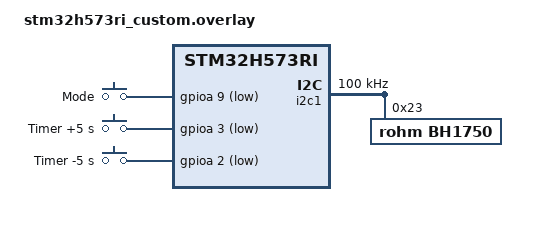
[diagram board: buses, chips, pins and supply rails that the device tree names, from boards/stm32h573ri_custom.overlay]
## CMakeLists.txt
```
cmake_minimum_required(VERSION 3.20.0)

# Board definition in boards/st/ (scripts/build.sh also passes it for sysbuild)
list(APPEND BOARD_ROOT ${CMAKE_CURRENT_SOURCE_DIR})

find_package(Zephyr REQUIRED HINTS $ENV{ZEPHYR_BASE})
project(SmartLighting)

# Firmware identity: FW_VERSION comes from the VERSION file (MCUboot signs the
# image with the same version); FW_DEVICE_NAME is the default device name and
# MQTT client ID (at most 15 characters)
if(NOT APP_VERSION_STRING)
  message(FATAL_ERROR "${CMAKE_CURRENT_SOURCE_DIR}/VERSION is missing")
endif()
target_compile_definitions(app PRIVATE
  FW_NAME="SmartLighting"
  FW_VERSION="${APP_VERSION_STRING}"
  FW_DEVICE_NAME="SmartLight"
)

# Drivers in src/drivers/<name>: their .c files are built, their folder is on
# the include path
set(DRIVERS
  boot          # MCUboot image confirm, NRST swap gesture
  config        # configuration in flash (A/B + CRC), IP / MAC
  network       # W5500 Ethernet, DHCP / static IP
  mqtt          # MQTT client (TLS), status + per-device topics
  web           # web server: login, configuration page, /api
  gpio          # relays, buttons
  i2c           # bus of the LCD
  lcd           # 20x4 LCD (PCF8574)
  bh1750        # light sensor
)
foreach(drv ${DRIVERS})
  file(GLOB srcs ${CMAKE_CURRENT_SOURCE_DIR}/src/drivers/${drv}/*.c)
  target_sources(app PRIVATE ${srcs})
  target_include_directories(app PRIVATE src/drivers/${drv})
endforeach()

# Mbed TLS user config (src/drivers/mqtt/mbedtls_user_config.h) must be seen
# by the Zephyr libraries too
zephyr_include_directories(src/drivers/mqtt)

# Application: main.c and the logic files next to it (overview in src/app.h)
target_include_directories(app PRIVATE src)
target_sources(app PRIVATE
  src/main.c          # start-up, main loop, buttons
  src/lamp.c          # dark / bright, AUTO / MANUAL, own light, off timer
  src/settings.c      # settings in flash
  src/lcd_view.c      # LCD thread and screens
  src/status_json.c   # JSON for MQTT and the web page
  src/web_app.c       # web page hooks, /api routes
  src/clock.c         # local time over SNTP (quiet hours)
)
```

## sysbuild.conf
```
SB_CONFIG_BOOTLOADER_MCUBOOT=y
SB_CONFIG_MCUBOOT_MODE_SWAP_SCRATCH=y
SB_CONFIG_BOOT_SIGNATURE_TYPE_RSA=y
```

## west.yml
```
# west manifest for the SmartLighting showcase.
#
#   west init -l --mf showcase/SmartLighting/west.yml fptUniversity
#   (run from the directory that holds the fptUniversity clone)
#   west update
#
# Only the modules this firmware needs are fetched. (scripts/setup.sh does
# all of this.)
manifest:
  version: "1.2"

  remotes:
    - name: zephyrproject-rtos
      url-base: https://github.com/zephyrproject-rtos

  projects:
    - name: zephyr
      remote: zephyrproject-rtos
      revision: v4.4.2
      import:
        name-allowlist:
          - cmsis
          - cmsis_6
          - hal_stm32
          - mbedtls
          - mcuboot
          - picolibc
          - segger
          - tf-psa-crypto
          - zcbor

  self:
    path: fptUniversity
```

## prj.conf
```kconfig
# SmartLighting 1.0.0 — dusk-to-dawn lamp with a BH1750 light sensor.

# BH1750 on I2C1 (shared with the LCD)
CONFIG_SENSOR=y
CONFIG_BH1750=y

# ── Console, MCUboot, config flash, LCD (I2C), Ethernet, web, MQTT ──
CONFIG_BOOT_BANNER=y
CONFIG_PRINTK=y
CONFIG_LOG=y
CONFIG_LOG_DEFAULT_LEVEL=3
CONFIG_STDOUT_CONSOLE=y

# Console over SEGGER RTT (read through the SWD probe, no UART adapter):
# printk and the log both go to RTT channel 0. UART5 stays free.
CONFIG_USE_SEGGER_RTT=y
CONFIG_RTT_CONSOLE=y
CONFIG_UART_CONSOLE=n
CONFIG_LOG_BACKEND_UART=n
CONFIG_LOG_BACKEND_RTT=y
# Keep SWD reachable while the idle thread sits in WFI
CONFIG_STM32_ENABLE_DEBUG_SLEEP_STOP=y
CONFIG_GPIO=y
CONFIG_BOOTLOADER_MCUBOOT=y
CONFIG_FLASH=y
CONFIG_FLASH_MAP=y
CONFIG_FLASH_PAGE_LAYOUT=y
CONFIG_IMG_MANAGER=y
CONFIG_MCUBOOT_IMG_MANAGER=y
CONFIG_STREAM_FLASH=y
CONFIG_IMG_ERASE_PROGRESSIVELY=y
CONFIG_REBOOT=y

# 20x4 LCD (PCF8574 on I2C1)
CONFIG_I2C=y

# W5500 Ethernet
CONFIG_SPI=y
CONFIG_ETH_W5500=y
CONFIG_NET_L2_ETHERNET=y
CONFIG_NETWORKING=y
CONFIG_NET_IPV4=y
CONFIG_NET_TCP=y
CONFIG_NET_SOCKETS=y
CONFIG_NET_DHCPV4=y
# IP is assigned at runtime by network.c (DHCP or static per web config).
# net_config auto-init + compile-time static are disabled so they don't
# force 192.168.1.100 before the DHCP client can request a lease.
CONFIG_NET_MGMT=y
CONFIG_NET_MGMT_EVENT=y
CONFIG_POSIX_API=y

# Thread / memory. Thread priorities: table in src/config.h. main (the
# control loop) is preemptible at 5, below the network stack (W5500 RX and
# TCP at 2) so a long computation never holds the network up.
CONFIG_MAIN_THREAD_PRIORITY=5
CONFIG_THREAD_NAME=y
CONFIG_MAIN_STACK_SIZE=4096
CONFIG_NET_TX_STACK_SIZE=2048
CONFIG_NET_RX_STACK_SIZE=2048
CONFIG_SYSTEM_WORKQUEUE_STACK_SIZE=2048
CONFIG_ZVFS_POLL_MAX=6
CONFIG_NET_MAX_CONN=8
CONFIG_NET_MAX_CONTEXTS=12

CONFIG_HEAP_MEM_POOL_SIZE=16384

# ── MQTT client + DNS ──
CONFIG_MQTT_LIB=y
CONFIG_DNS_RESOLVER=y
CONFIG_DNS_SERVER_IP_ADDRESSES=y
CONFIG_DNS_SERVER1="8.8.8.8"

# ── SNTP: local time for the quiet hours (src/clock.c) ──
CONFIG_SNTP=y

# ── TLS for MQTT (port 8883, broker certificate verified against ISRG Root X1) ──
CONFIG_MQTT_LIB_TLS=y
CONFIG_NET_SOCKETS_SOCKOPT_TLS=y
CONFIG_NET_SOCKETS_TLS_MAX_CONTEXTS=2
CONFIG_NET_SOCKETS_TLS_CONNECT_TIMEOUT=10000
CONFIG_TLS_CREDENTIALS=y
CONFIG_MBEDTLS=y
CONFIG_MBEDTLS_ENABLE_HEAP=y
CONFIG_MBEDTLS_HEAP_SIZE=65536
# 16 KB input records; the output buffer is reduced to 2 KB in
# src/drivers/mqtt/mbedtls_user_config.h
CONFIG_MBEDTLS_SSL_MAX_CONTENT_LEN=16384
CONFIG_MBEDTLS_USER_CONFIG_FILE="mbedtls_user_config.h"
CONFIG_MBEDTLS_SSL_SERVER_NAME_INDICATION=y
CONFIG_MBEDTLS_SSL_PROTO_TLS1_3=y
CONFIG_MBEDTLS_SSL_TLS1_3_KEY_EXCHANGE_MODE_EPHEMERAL_ENABLED=y
CONFIG_MBEDTLS_CIPHERSUITE_TLS1_3_AES_128_GCM_SHA256=y
CONFIG_MBEDTLS_CIPHERSUITE_TLS_ECDHE_ECDSA_WITH_AES_128_GCM_SHA256=y
CONFIG_MBEDTLS_CIPHERSUITE_TLS_ECDHE_RSA_WITH_AES_128_GCM_SHA256=y
CONFIG_MBEDTLS_X509_CRT_PARSE_C=y
CONFIG_MBEDTLS_PEM_PARSE_C=y
CONFIG_PSA_WANT_ALG_SHA_384=y
```

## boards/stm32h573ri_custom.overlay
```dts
/*
 * SmartLighting: BH1750 light sensor, 20x4 LCD, lamp on Relay 1 and 4 buttons
 * on the Base Board.
 *
 *   U16-10 PB6   I2C1 SCL -> BH1750 (0x23) and PCF8574 backpack of the LCD
 *   U16-9  PB9   I2C1 SDA -> BH1750 (0x23) and PCF8574 backpack of the LCD
 *   U16-12 PA10  BTN1 lamp ON/OFF  (user_btn of the board)
 *   U16-11 PA9   BTN2 AUTO/MANUAL  (SPI2 SCK on the board)
 *   U16-3  PA3   BTN3 timer +5 s   (USART2 RX on the board)
 *   U16-4  PA2   BTN4 timer -5 s   (USART2 TX on the board)
 *   CN3-1/2      Relay 1 (PB5) switches the lamp, high = on
 *
 * Buttons close to GND (U16-17/18); the internal pull-ups are used.
 * The board devicetree is left untouched; everything showcase specific is here.
 */

/ {
	chosen {
		/delete-property/ zephyr,canbus;
	};

	showcase_buttons {
		compatible = "gpio-keys";
		btn_mode: btn_mode {
			gpios = <&gpioa 9 (GPIO_ACTIVE_LOW | GPIO_PULL_UP)>;
			label = "Mode";
		};
		btn_timer_up: btn_timer_up {
			gpios = <&gpioa 3 (GPIO_ACTIVE_LOW | GPIO_PULL_UP)>;
			label = "Timer +5 s";
		};
		btn_timer_down: btn_timer_down {
			gpios = <&gpioa 2 (GPIO_ACTIVE_LOW | GPIO_PULL_UP)>;
			label = "Timer -5 s";
		};
	};

	/* Aliases of the course drivers (driver_gpio, driver_bh1750) */
	aliases {
		/* Lamp switched by Relay 1 (PB5, high = contact closed):
		 * supply (+) -> CN3-1 COM1, CN3-2 OUT1 -> lamp -> supply (-) */
		out0 = &relay_1;
		out1 = &user_led;         /* LED LIFE (PA8), heartbeat */
		in0 = &user_btn;          /* BTN1 lamp ON/OFF */
		in1 = &btn_mode;          /* BTN2 AUTO/MANUAL */
		in2 = &btn_timer_up;      /* BTN3 timer +5 s  */
		in3 = &btn_timer_down;    /* BTN4 timer -5 s  */
		light0 = &bh1750;
	};
};

/* Peripherals not used by the showcase */
&fdcan1 { status = "disabled"; };
&sdmmc1 { status = "disabled"; };
&usart1 { status = "disabled"; };
&usart2 { status = "disabled"; };  /* PA2, PA3: buttons */
&usart6 { status = "disabled"; };
&uart4  { status = "disabled"; };  /* RS485 not used */
&sht41  { status = "disabled"; };
&i2c2   { status = "disabled"; };
&spi2   { status = "disabled"; };  /* PA9: button */

/* LCD backpack (PCF8574, 100 kHz only) and BH1750 share I2C1 */
&i2c1 {
	clock-frequency = <I2C_BITRATE_STANDARD>;

	bh1750: bh1750@23 {
		compatible = "rohm,bh1750";
		reg = <0x23>;
	};
};
```

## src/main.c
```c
/* SmartLighting: dusk-to-dawn lamp.
 *
 * main.c: start-up, the main loop and the buttons. The main thread reads the
 * BH1750 every second (lamp.c) and applies the commands of the buttons and
 * the web page (g_cmdq), so the lamp state and the settings only change here;
 * settings are written to flash by settings.c. The LCD (lcd_view.c) has its
 * own thread; LED LIFE blinks by itself (driver_gpio_blink). Overview: app.h;
 * behaviour: README.md. */
#include <zephyr/kernel.h>
#include <zephyr/sys/printk.h>

#include "driver_bh1750.h"
#include "driver_gpio.h"

#include "app_config.h"
#include "app_state.h"
#include "boot_swap.h"
#include "mqtt_app.h"
#include "network.h"
#include "app.h"

K_MUTEX_DEFINE(g_lock);
struct state    g_st;
struct settings g_set;
uint32_t        g_events;

const char *const src_str[]   = { "", "auto", "button", "web", "timer", "restore" };
const char *const fault_str[] = { "keep", "on", "off" };

K_MSGQ_DEFINE(g_cmdq, sizeof(struct cmd), 8, 4);

bool app_post(const struct cmd *c)
{
    return k_msgq_put(&g_cmdq, c, K_NO_WAIT) == 0;
}

void app_snapshot(struct state *st, struct settings *set)
{
    k_mutex_lock(&g_lock, K_FOREVER);
    *st = g_st;
    *set = g_set;
    k_mutex_unlock(&g_lock);
}

/* A command from a button or the web page (g_lock held) */
static void handle_cmd(const struct cmd *c, int64_t now)
{
    switch (c->type) {
    case CMD_LAMP_TOGGLE:
        lamp_manual(!g_st.on, SRC_BUTTON, now);
        break;
    case CMD_LAMP_SET:
        lamp_manual(c->val != 0, SRC_WEB, now);
        break;
    case CMD_MODE_TOGGLE:
        lamp_set_mode(g_st.mode == MODE_AUTO ? MODE_MANUAL : MODE_AUTO, now);
        break;
    case CMD_MODE_SET:
        lamp_set_mode((enum mode)c->val, now);
        break;
    case CMD_TIMER_STEP:
        g_set.timer_s = (uint16_t)CLAMP((int)g_set.timer_s + c->val * SET_TIMER_STEP_S,
                                        0, SET_TIMER_MAX_S);
        settings_save_at(now + SAVE_DELAY_MS);   /* fewer writes on repeated clicks */
        g_events |= BIT(DEV_LAMP);
        printk("[BTN] timer %u s\n", g_set.timer_s);
        break;
    case CMD_TIMER_SET:
        g_set.timer_s = (uint16_t)c->val;
        settings_save_at(now);
        g_events |= BIT(DEV_LAMP);
        break;
    case CMD_SETTINGS:
        g_set.on_lux     = c->set.on_lux;
        g_set.off_lux    = c->set.off_lux;
        g_set.confirm_s  = c->set.confirm_s;
        g_set.fault      = c->set.fault;
        g_set.quiet_on   = c->set.quiet_on;
        g_set.quiet_from = c->set.quiet_from;
        g_set.quiet_to   = c->set.quiet_to;
        settings_save_at(now);
        g_events |= BIT(DEV_LIGHT) | BIT(DEV_MODE);
        break;
    }
}

/* ── Buttons (driver_gpio callback, system work queue) ───────── */
static void on_button(uint8_t id, bool pressed)
{
    struct cmd c = { 0 };

    if (!pressed) return;
    switch (id) {
    case IN_BTN_LAMP:     c.type = CMD_LAMP_TOGGLE; break;
    case IN_BTN_MODE:     c.type = CMD_MODE_TOGGLE; break;
    case IN_BTN_TMR_UP:   c.type = CMD_TIMER_STEP; c.val = +1; break;
    case IN_BTN_TMR_DOWN: c.type = CMD_TIMER_STEP; c.val = -1; break;
    default: return;
    }
    app_post(&c);
}

/* LED LIFE (out1) for the fast blink of boot_swap_check() at start-up */
static void led_set(bool on)
{
    driver_gpio_set(OUT_LED, on);
}

static void publish_events(void)
{
    for (unsigned int d = 0; d < DEV_COUNT; d++) {
        if (g_events & BIT(d)) mqtt_app_notify(d);
    }
    g_events = 0;
}

/* ── main thread ─────────────────────────────────────────────── */
int main(void)
{
    static const uint16_t heartbeat[] = HEARTBEAT_PATTERN;

    printk("\n== %s v%s ==\n", FW_NAME, FW_VERSION);

    if (config_load(&g_cfg) != 0) {
        printk("[CFG] No saved config — loading defaults\n");
        config_defaults(&g_cfg);
    }
    settings_load();

    boot_swap_confirm_image();
    if (driver_gpio_out_init(OUT_LED) != 0)          printk("[LED] LED LIFE (out1) not ready\n");
    boot_swap_check(led_set);                        /* 3 s NRST window, LED blinks fast */
    driver_gpio_blink(OUT_LED, heartbeat, ARRAY_SIZE(heartbeat));

    /* Drivers */
    if (driver_bh1750_init() != 0)                   printk("[LIGHT] BH1750 not ready\n");
    if (driver_gpio_out_init(OUT_LAMP) != 0)         printk("[LAMP] relay (out0) not ready\n");
    k_mutex_lock(&g_lock, K_FOREVER);
    lamp_restore(k_uptime_get());                    /* mode / lamp before the power cut */
    k_mutex_unlock(&g_lock);
    for (uint8_t i = IN_BTN_LAMP; i <= IN_BTN_TMR_DOWN; i++) {
        if (driver_gpio_in_init(i, on_button) != 0)  printk("[BTN] in%u not ready\n", i);
    }
    lcd_view_start();

    /* Ethernet comes up in the background (DHCP or static per config) */
    network_start();

    k_msleep(SPLASH_MS);
    k_thread_start(lcd_tid);

    int64_t next_read   = k_uptime_get();
    int64_t next_report = next_read;              /* first report right away */
    int64_t next_log    = next_read;

    while (1) {
        int64_t now = k_uptime_get();
        struct cmd c;

        /* Wait for a command until the next reading is due */
        if (k_msgq_get(&g_cmdq, &c, K_MSEC(MAX(next_read - now, 0))) == 0) {
            k_mutex_lock(&g_lock, K_FOREVER);
            handle_cmd(&c, k_uptime_get());
            k_mutex_unlock(&g_lock);
        }

        now = k_uptime_get();
        if (now >= next_read) {
            float lux = 0;
            int rc = driver_bh1750_read_lux(&lux);   /* outside the lock: up to 180 ms */

            next_read = now + READ_PERIOD_MS;
            network_update_ip();
            k_mutex_lock(&g_lock, K_FOREVER);
            lamp_update(rc, lux, k_uptime_get());
            k_mutex_unlock(&g_lock);
            if (rc != 0) printk("[LIGHT] read error %d\n", rc);

            if (now >= next_log) {
                next_log = now + LOG_PERIOD_MS;
                printk("| LUX=%d (ambient %d, lamp %d) | %s | LAMP:%s %s | IP=%s |\n",
                       g_st.lux, g_st.ambient, g_st.lamp_lux,
                       !g_st.night_known ? "--" : g_st.night ? "DARK" : "BRIGHT",
                       g_st.on ? "ON" : "OFF", g_st.mode == MODE_AUTO ? "auto" : "manual",
                       g_device_ip);
            }
            if (now >= next_report) {
                next_report = now + REPORT_PERIOD_MS;
                mqtt_app_publish_now();
            }
        }

        settings_poll(now);
        publish_events();
    }
    return 0;
}
```

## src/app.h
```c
#ifndef APP_H
#define APP_H

/* Types, shared state and functions of the SmartLighting files:
 *
 *   main.c         start-up, main loop (BH1750 read, commands), buttons
 *   lamp.c         dark / bright, AUTO / MANUAL, own light, off timer,
 *                  sensor fault action, quiet hours
 *   settings.c     settings, mode and manual lamp in flash (g_cfg.app_data)
 *   clock.c        clock thread: local time over SNTP
 *   lcd_view.c     lcd thread: boot, status and warning screens
 *   status_json.c  JSON of the devices (MQTT status / events, web page)
 *   web_app.c      web page hooks and /api/... routes (page text: web_page.h)
 *
 * The lamp state (g_st) and the settings (g_set) only change in the main
 * thread, under g_lock; the other threads read them under g_lock. */
#include <zephyr/kernel.h>
#include <stdbool.h>
#include <stdint.h>
#include "config.h"

/* MQTT event topics, one per device (names in status_json.c) */
enum dev { DEV_LAMP, DEV_LIGHT, DEV_MODE, DEV_SENSOR, DEV_COUNT };

enum src   { SRC_NONE, SRC_AUTO, SRC_BUTTON, SRC_WEB, SRC_TIMER, SRC_RESTORE };
enum mode  { MODE_AUTO, MODE_MANUAL };
enum fault { FAULT_KEEP, FAULT_ON, FAULT_OFF };    /* AUTO lamp on a sensor fault */
extern const char *const src_str[];
extern const char *const fault_str[];

struct settings {
    uint16_t on_lux;
    uint16_t off_lux;
    uint16_t confirm_s;
    uint16_t timer_s;        /* off timer, 0 = none */
    uint8_t  fault;          /* enum fault */
    uint8_t  quiet_on;       /* quiet hours: AUTO keeps the lamp off */
    uint16_t quiet_from;     /* minute of the day, local time */
    uint16_t quiet_to;
    /* restored after a power cut (saved SAVE_DELAY_MS after a change) */
    uint8_t  mode;           /* enum mode */
    uint8_t  lamp;           /* lamp in MANUAL */
};

/* What the LCD, the web page and MQTT show (written by the main thread) */
struct state {
    /* sensor */
    bool      have_data, ok, fault;
    int32_t   lux;
    uint32_t  reads;
    /* lamp */
    bool      on;
    enum src  by;
    enum mode mode;
    bool      night_known, night, hold, quiet;
    int32_t   ambient, lamp_lux;
    int64_t   on_since, cand_since;
};

extern struct k_mutex   g_lock;
extern struct state     g_st;
extern struct settings  g_set;
extern uint32_t         g_events;        /* BIT(dev) to publish (main thread) */

/* ── Commands (buttons, web) → main thread ───────────────────── */
enum cmd_type {
    CMD_LAMP_TOGGLE,      /* BTN1 */
    CMD_LAMP_SET,         /* web: val = 0/1 */
    CMD_MODE_TOGGLE,      /* BTN2 */
    CMD_MODE_SET,         /* web: val = mode */
    CMD_TIMER_STEP,       /* BTN3 / BTN4: val = +1 / -1 steps */
    CMD_TIMER_SET,        /* web: val = seconds */
    CMD_SETTINGS,         /* web: set */
};

struct cmd {
    uint8_t type;
    int32_t val;
    struct settings set;
};

/* main.c */
bool app_post(const struct cmd *c);                       /* false when the queue is full */
void app_snapshot(struct state *st, struct settings *set); /* copies under g_lock */

/* lamp.c (main thread, g_lock held) */
void lamp_update(int rc, float lux, int64_t now);         /* one BH1750 reading */
void lamp_manual(bool on, enum src src, int64_t now);     /* leaves AUTO */
void lamp_set_mode(enum mode m, int64_t now);
void lamp_restore(int64_t now);                           /* start-up: saved mode / lamp */

/* settings.c */
void settings_load(void);                                  /* at start-up */
const char *settings_check(const struct settings *s);     /* NULL or the reason */
void settings_save_at(int64_t at);                         /* main thread, g_lock held */
void settings_poll(int64_t now);                           /* main thread: write when due */

/* clock.c */
bool clock_minute(int *min);                               /* local minute of the day; false = not synced */

/* lcd_view.c */
extern const k_tid_t lcd_tid;
void lcd_view_start(void);                                 /* probe the LCD, boot screen */
bool lcd_view_ok(void);

#endif /* APP_H */
```

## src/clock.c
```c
/* clock.c — local time for the quiet hours (clock thread).
 *
 * Once Ethernet is up, the time is read from SNTP_SERVER, then again every
 * SNTP_RESYNC_MS (SNTP_RETRY_MS after a failed request). Between two reads
 * the time follows k_uptime_get(). Local time = UTC + TZ_OFFSET_S. Before
 * the first answer (no Internet) the clock is unknown: quiet hours are off. */
#include <zephyr/kernel.h>
#include <zephyr/net/sntp.h>
#include <zephyr/sys/printk.h>

#include "network.h"
#include "app.h"

static struct k_spinlock s_lock;
static int64_t s_epoch_ms;        /* local epoch ms at uptime 0, 0 = not synced */

bool clock_minute(int *min)
{
    k_spinlock_key_t key = k_spin_lock(&s_lock);
    int64_t base = s_epoch_ms;

    k_spin_unlock(&s_lock, key);
    if (base == 0) return false;
    *min = (int)(((base + k_uptime_get()) / 60000) % (24 * 60));
    return true;
}

static void clock_thread(void *a, void *b, void *c)
{
    ARG_UNUSED(a); ARG_UNUSED(b); ARG_UNUSED(c);

    while (1) {
        struct sntp_time ts;
        int rc, m;

        if (!network_eth_connected()) {
            k_msleep(1000);
            continue;
        }
        rc = sntp_simple(SNTP_SERVER, SNTP_TIMEOUT_MS, &ts);
        if (rc == 0) {
            int64_t ms = (int64_t)ts.seconds * 1000 + (int64_t)((ts.fraction * 1000ULL) >> 32);
            k_spinlock_key_t key = k_spin_lock(&s_lock);

            s_epoch_ms = ms + (int64_t)TZ_OFFSET_S * 1000 - k_uptime_get();
            k_spin_unlock(&s_lock, key);
            clock_minute(&m);
            printk("[CLOCK] %02d:%02d (UTC%+d, %s)\n", m / 60, m % 60, TZ_OFFSET_S / 3600,
                   SNTP_SERVER);
            k_msleep(SNTP_RESYNC_MS);
        } else {
            printk("[CLOCK] SNTP error %d\n", rc);
            k_msleep(SNTP_RETRY_MS);
        }
    }
}

K_THREAD_DEFINE(clock_tid, CLOCK_STACK, clock_thread, NULL, NULL, NULL, CLOCK_PRIO, 0, 0);
```

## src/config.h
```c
#ifndef CONFIG_H
#define CONFIG_H

/* Settings of SmartLighting: periods, defaults and limits of the settings
 * saved in flash, driver ids. The logic is in the .c files next to main.c. */

/* ── Timing ──────────────────────────────────────────────────── */
#define READ_PERIOD_MS      1000    /* one BH1750 measurement takes up to 180 ms */
#define REPORT_PERIOD_MS   30000    /* MQTT status */
#define LOG_PERIOD_MS       5000    /* console line */
#define SPLASH_MS           5000
#define SELF_MEASURE_MS     2000    /* lamp's own light measured after switch-on */
#define SENSOR_FAILS           3    /* failed reads in a row => sensor fault */
#define SAVE_DELAY_MS       5000    /* buttons, mode, lamp: flash write delay */
#define RELAY_MIN_MS        1000    /* least time between two relay switches */
#define LCD_PERIOD_MS        200
#define LCD_WARN_SWAP_MS    2000
#define LCD_RETRY_MS       10000
#define SNTP_SERVER        "pool.ntp.org"
#define SNTP_TIMEOUT_MS     3000
#define SNTP_RESYNC_MS     (3600LL * 1000)   /* clock read again every hour */
#define SNTP_RETRY_MS      30000             /* after a failed request */
#define TZ_OFFSET_S        (7 * 3600)        /* local time = UTC+7 (Vietnam) */
#define HEARTBEAT_PATTERN  { 80, 80, 80, 760 }   /* LED LIFE: double blink / s */

/* ── Settings (g_cfg.app_data, flash): defaults and limits ───── */
#define SET_MAGIC           0x4C494732U   /* "LIG2" */
#define SET_ON_LUX_DEF      10            /* lamp on below (lux) */
#define SET_OFF_LUX_DEF     30            /* lamp off above (lux, own light removed) */
#define SET_CONFIRM_S_DEF    5            /* a condition must last this long */
#define SET_LUX_MAX       5000
#define SET_LUX_GAP_MIN      5            /* off_lux >= on_lux + 5 */
#define SET_CONFIRM_MIN      5
#define SET_CONFIRM_MAX    600
#define SET_TIMER_MAX_S  43200            /* off timer, s (0 = none), 12 h */
#define SET_TIMER_STEP_S     5            /* BTN3 / BTN4 and the web -/+ */
#define SET_QUIET_FROM_DEF (23 * 60)      /* quiet hours, minute of the day */
#define SET_QUIET_TO_DEF    (5 * 60)

/* ── Driver ids (aliases in the overlay) ─────────────────────── */
#define OUT_LAMP        0   /* out0 = Relay 1 */
#define OUT_LED         1   /* out1 = LED LIFE (PA8) */
#define IN_BTN_LAMP     0   /* in0 = BTN1 PA10 */
#define IN_BTN_MODE     1   /* in1 = BTN2 PA9  */
#define IN_BTN_TMR_UP   2   /* in2 = BTN3 PA3  */
#define IN_BTN_TMR_DOWN 3   /* in3 = BTN4 PA2  */

/* ── Threads (priority: lower number runs first) ─────────────────
 *   prio  thread            period / wakes on        work
 *   coop  net RX, sysworkq  packets, timers          Zephyr: network, buttons, blink
 *    2    W5500 RX, TCP     W5500 IRQ                Zephyr Ethernet driver
 *    5    main              command / 1 s            control loop, BH1750 read (180 ms)
 *    6    net_up            once at start            DHCP / static IP
 *    9    clock             1 h (30 s on error)      SNTP time (clock.c)
 *    7    lcd               200 ms                   LCD rows over I2C (~10 ms)
 *    8    web               HTTP request             web page, /api
 *   10    mqtt              socket / 200 ms          MQTT, TLS handshake (long)
 * Shorter period => higher priority; network I/O and long computations
 * below the device threads. Shared state: g_lock (priority inheritance)
 * or atomics. Stack use: build with scripts/build.sh --threads. */
#define LCD_PRIO        7
#define LCD_STACK    3072
#define CLOCK_PRIO      9
#define CLOCK_STACK  3072

/* ── LCD ─────────────────────────────────────────────────────── */
#define LCD_COLS       20
#define LCD_ROWS        4

#endif /* CONFIG_H */
```

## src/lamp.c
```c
/* lamp.c — dusk-to-dawn lamp on Relay 1 (out0).
 *
 * AUTO   night starts when the ambient light stays below on_lux for
 *        confirm_s, ends when it stays above off_lux for confirm_s; the lamp
 *        is on during the night. The first reading decides at once. The
 *        lamp's own light on the sensor is measured SELF_MEASURE_MS after each
 *        switch-on and removed from the reading while the lamp is on.
 * MANUAL BTN1 / web switch the lamp; used in AUTO they switch to MANUAL.
 *        Back to AUTO by BTN2 / web, or by itself at the next confirmed
 *        day / night change; the lamp then follows the sensor at once.
 * Saved  the mode and the MANUAL lamp are restored after a power cut.
 * Timer  0..12 h in seconds, counted from the switch-on, both modes; in AUTO
 *        the lamp then stays off until the next day.
 * Quiet  quiet hours (local time, clock.c): AUTO keeps the lamp off.
 * Fault  SENSOR_FAILS failed reads in a row: AUTO keeps the lamp, or switches
 *        it on / off (g_set.fault); BTN1 / web still switch it by hand.
 * Relay  switched at most once per RELAY_MIN_MS; a faster request is ignored.
 * All functions run in the main thread with g_lock held. */
#include <zephyr/sys/printk.h>

#include "driver_gpio.h"
#include "app.h"

static int     s_fails;
static int32_t s_lux_before;      /* reading just before the last switch-on */
static int64_t s_measure_at;      /* measure the lamp's own light then, 0 = no */
static int64_t s_switched_at;     /* last relay switch, 0 = none yet */

static void lamp_output(bool on, enum src src, int64_t now)
{
    if (on == g_st.on && src == g_st.by) return;
    if (on != g_st.on) {
        if (s_switched_at && now - s_switched_at < RELAY_MIN_MS) {
            printk("[LAMP] %s (%s) ignored: relay switched < %d ms ago\n",
                   on ? "ON" : "OFF", src_str[src], RELAY_MIN_MS);
            return;
        }
        s_switched_at = now;
        printk("[LAMP] %s (%s)\n", on ? "ON" : "OFF", src_str[src]);
        if (on) {
            g_st.on_since = now;
            s_lux_before  = g_st.lux;
            /* no reading before the switch-on (start-up): keep the old value */
            s_measure_at  = g_st.have_data ? now + SELF_MEASURE_MS : 0;
        } else {
            s_measure_at = 0;
        }
        driver_gpio_set(OUT_LAMP, on);
    }
    g_events |= BIT(DEV_LAMP);
    g_st.on = on;
    g_st.by = src;
    if (g_st.mode == MODE_MANUAL && g_set.lamp != on) {
        g_set.lamp = on;
        settings_save_at(now + SAVE_DELAY_MS);
    }
}

static void set_night(bool night, int64_t now)
{
    bool change = g_st.night_known;   /* not the first reading */

    g_st.night = night;
    g_st.night_known = true;
    g_st.cand_since = 0;
    g_events |= BIT(DEV_LIGHT);
    printk("[LAMP] %s (ambient %d lx)\n", night ? "night" : "day", g_st.ambient);
    if (!night) g_st.hold = false;   /* a bright period ends the timer hold */
    if (change && g_st.mode == MODE_MANUAL) {
        printk("[LAMP] %s: back to auto\n", night ? "dusk" : "dawn");
        lamp_set_mode(MODE_AUTO, now);
    }
}

/* Quiet hours now? from > to spans midnight (23:00..05:00) */
static bool quiet_now(void)
{
    int m;

    if (!g_set.quiet_on || !clock_minute(&m)) return false;
    if (g_set.quiet_from <= g_set.quiet_to) return m >= g_set.quiet_from && m < g_set.quiet_to;
    return m >= g_set.quiet_from || m < g_set.quiet_to;
}

/* AUTO: the lamp follows the night (or the fault action), unless held off
 * by the timer or the quiet hours */
static void apply_auto(int64_t now)
{
    bool want;

    if (g_st.mode != MODE_AUTO) return;
    if (g_st.fault) {
        if (g_set.fault == FAULT_KEEP) return;
        want = (g_set.fault == FAULT_ON);
    } else if (g_st.night_known) {
        want = g_st.night;
    } else {
        return;
    }
    want = want && !g_st.hold && !g_st.quiet;
    if (want != g_st.on) lamp_output(want, SRC_AUTO, now);
}

/* One BH1750 reading: sensor fault, own light, dark/bright, timer, AUTO */
void lamp_update(int rc, float lux_f, int64_t now)
{
    bool was_fault = g_st.fault;

    g_st.reads++;
    g_st.ok = (rc == 0);
    if (rc == 0) {
        s_fails = 0;
        g_st.have_data = true;
        g_st.lux = (int32_t)(lux_f + 0.5f);
    } else if (s_fails < SENSOR_FAILS) {
        s_fails++;
    }
    g_st.fault = (s_fails >= SENSOR_FAILS);
    if (g_st.fault != was_fault) {
        g_events |= BIT(DEV_SENSOR);
        printk("[LIGHT] sensor %s\n", g_st.fault ? "FAULT" : "back");
        if (!g_st.fault && !g_st.night) g_st.hold = false;   /* hold set during the fault */
    }

    if (rc == 0) {
        /* The lamp's own light, once it is fully on */
        if (g_st.on && s_measure_at && now >= s_measure_at) {
            g_st.lamp_lux = MAX(g_st.lux - s_lux_before, 0);
            s_measure_at  = 0;
            printk("[LAMP] own light %d lx\n", g_st.lamp_lux);
        }
        g_st.ambient = g_st.on ? MAX(g_st.lux - g_st.lamp_lux, 0) : g_st.lux;

        /* Dark / bright: first reading at once, then confirmed changes, not
         * while the lamp's own light is being measured */
        if (!g_st.night_known) {
            set_night(g_st.ambient < g_set.on_lux, now);
        } else if (!(g_st.on && s_measure_at)) {
            bool dark = g_st.night ? (g_st.ambient <= g_set.off_lux)
                                   : (g_st.ambient < g_set.on_lux);
            if (dark == g_st.night) {
                g_st.cand_since = 0;
            } else if (g_st.cand_since == 0) {
                g_st.cand_since = now;
            } else if (now - g_st.cand_since >= (int64_t)g_set.confirm_s * 1000) {
                set_night(dark, now);
            }
        }
    }

    /* Quiet hours */
    bool quiet = quiet_now();
    if (quiet != g_st.quiet) {
        g_st.quiet = quiet;
        g_events |= BIT(DEV_MODE);
        printk("[LAMP] quiet hours %s\n", quiet ? "start" : "end");
    }

    /* Off timer, both modes */
    if (g_st.on && g_set.timer_s && now - g_st.on_since >= (int64_t)g_set.timer_s * 1000) {
        printk("[LAMP] timer %u s elapsed\n", g_set.timer_s);
        if (g_st.mode == MODE_AUTO && (g_st.night || g_st.fault)) g_st.hold = true;
        lamp_output(false, SRC_TIMER, now);
    }

    apply_auto(now);
}

void lamp_set_mode(enum mode m, int64_t now)
{
    if (m != g_st.mode) {
        g_st.mode = m;
        g_events |= BIT(DEV_MODE);
        printk("[LAMP] mode %s\n", m == MODE_AUTO ? "auto" : "manual");
        g_set.mode = m;
        g_set.lamp = g_st.on;
        settings_save_at(now + SAVE_DELAY_MS);
    }
    if (m == MODE_AUTO) {
        g_st.hold = false;
        apply_auto(now);                         /* follow the sensor at once */
    }
}

void lamp_manual(bool on, enum src src, int64_t now)
{
    lamp_set_mode(MODE_MANUAL, now);             /* manual use leaves AUTO */
    lamp_output(on, src, now);
    g_events |= BIT(DEV_LAMP);
}

/* Start-up: the mode and, in MANUAL, the lamp saved before the power cut */
void lamp_restore(int64_t now)
{
    g_st.mode = (enum mode)g_set.mode;
    printk("[LAMP] restored: mode %s\n", g_st.mode == MODE_AUTO ? "auto" : "manual");
    if (g_st.mode == MODE_MANUAL) lamp_output(g_set.lamp, SRC_RESTORE, now);
}
```

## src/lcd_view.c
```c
/* lcd_view.c — the 20x4 LCD (lcd thread, redraws every LCD_PERIOD_MS)
 *
 *   Boot (5 s)              Status                  Warning (sensor fault)
 *   |  Showcase v1.0.0   |  |IP:     192.168.1.50|  |  !!! Warning !!!   |
 *   |   Smart Lighting   |  |Light: 8 lx     Dark|  |                    |
 *   |BH1750 + web server |  |Lamp: ON   Mode:AUTO|  |BH1750 sensor error |
 *   |                    |  |MQTT: OK   Off 4m05s|  |                    |
 *
 * Row 3 right: Mode:AUTO, Mode:MAN, or Mode:QUIET (AUTO in the quiet hours).
 * Row 4 right: "Off 4m05s" left on the timer while the lamp is on, else
 * "Tmr 30s" / "Timer off". During a sensor fault the warning and status
 * screens take turns, LCD_WARN_SWAP_MS each. driver_lcd_update() writes only
 * the rows that changed. */
#include <zephyr/sys/printk.h>
#include <stdio.h>

#include "driver_lcd.h"
#include "app_config.h"
#include "app_state.h"
#include "mqtt_app.h"
#include "network.h"
#include "app.h"

static struct driver_lcd s_lcd;

static void lcd_probe(void)
{
    int addr = driver_lcd_init_probe(&s_lcd, LCD_COLS, LCD_ROWS);

    if (addr > 0) printk("[LCD] 20x4 at 0x%02X\n", addr);
}

bool lcd_view_ok(void)
{
    return driver_lcd_is_ready(&s_lcd);
}

void lcd_view_start(void)
{
    char rows[LCD_ROWS][DRIVER_LCD_ROW_SIZE] = { 0 };

    lcd_probe();
    if (!lcd_view_ok()) {
        printk("[LCD] no PCF8574 backpack on I2C1\n");
        return;
    }
    driver_lcd_fmt_center(rows[0], LCD_COLS, "Showcase v" FW_VERSION);
    driver_lcd_fmt_center(rows[1], LCD_COLS, "Smart Lighting");
    driver_lcd_fmt_center(rows[2], LCD_COLS, "BH1750 + web server");
    driver_lcd_update(&s_lcd, rows);
}

/* Seconds as "45s", "4m05s" or "12h00m" (at most 6 characters) */
static void fmt_dur(char *buf, size_t len, uint32_t s)
{
    if (s < 60)        snprintf(buf, len, "%us", s);
    else if (s < 3600) snprintf(buf, len, "%um%02us", s / 60, s % 60);
    else               snprintf(buf, len, "%uh%02um", s / 3600, s % 3600 / 60);
}

static void build_rows(char rows[LCD_ROWS][DRIVER_LCD_ROW_SIZE], int64_t now)
{
    static int64_t warn_start;
    struct state st;
    struct settings set;
    char ip[16], a[24], b[20], d[12];

    app_snapshot(&st, &set);

    /* Sensor fault: warning and status screens take turns */
    if (st.fault) {
        if (warn_start == 0) warn_start = now;
        if (((now - warn_start) / LCD_WARN_SWAP_MS) % 2 == 0) {
            driver_lcd_fmt_center(rows[0], LCD_COLS, "!!! Warning !!!");
            rows[1][0] = '\0';
            driver_lcd_fmt_center(rows[2], LCD_COLS, "BH1750 sensor error");
            rows[3][0] = '\0';
            return;
        }
    } else {
        warn_start = 0;
    }

    /* The live IP once Ethernet is up, before that the saved static one */
    if (network_eth_connected()) snprintf(ip, sizeof(ip), "%s", g_device_ip);
    else                         ip4_to_str(g_cfg.static_ip, ip);
    snprintf(rows[0], DRIVER_LCD_ROW_SIZE, "IP:%17s", ip);

    if (st.have_data) snprintf(a, sizeof(a), "Light: %d lx", st.lux);
    else              snprintf(a, sizeof(a), "Light: -- lx");
    driver_lcd_fmt_left_right(rows[1], LCD_COLS, a,
                              !st.night_known ? "--" : st.night ? "Dark" : "Bright");

    snprintf(a, sizeof(a), "Lamp: %s", st.on ? "ON" : "OFF");
    driver_lcd_fmt_left_right(rows[2], LCD_COLS, a, st.mode == MODE_MANUAL ? "Mode:MAN"
                              : st.quiet ? "Mode:QUIET" : "Mode:AUTO");

    int64_t left = (int64_t)set.timer_s * 1000 - (now - st.on_since);
    if (st.on && set.timer_s && left > 0) {
        fmt_dur(d, sizeof(d), (uint32_t)((left + 999) / 1000));
        snprintf(b, sizeof(b), "Off %s", d);
    } else if (set.timer_s) {
        fmt_dur(d, sizeof(d), set.timer_s);
        snprintf(b, sizeof(b), "Tmr %s", d);
    } else {
        snprintf(b, sizeof(b), "Timer off");
    }
    driver_lcd_fmt_left_right(rows[3], LCD_COLS, network_eth_connected() && mqtt_app_is_connected()
                              ? "MQTT: OK" : "MQTT: N/A", b);
}

static void lcd_thread(void *a, void *b, void *c)
{
    ARG_UNUSED(a); ARG_UNUSED(b); ARG_UNUSED(c);
    int64_t next_retry = 0;

    while (1) {
        int64_t now = k_uptime_get();

        /* Missing or unplugged LCD: probe again every LCD_RETRY_MS */
        if (!lcd_view_ok() && now >= next_retry) {
            next_retry = now + LCD_RETRY_MS;
            lcd_probe();
        }
        if (lcd_view_ok()) {
            char rows[LCD_ROWS][DRIVER_LCD_ROW_SIZE];

            build_rows(rows, now);
            driver_lcd_update(&s_lcd, rows);      /* writes the rows that changed */
        }
        k_msleep(LCD_PERIOD_MS);
    }
}

/* Started by main after the boot screen */
K_THREAD_DEFINE(lcd_tid, LCD_STACK, lcd_thread, NULL, NULL, NULL, LCD_PRIO, 0, SYS_FOREVER_MS);
```

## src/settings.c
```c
/* settings.c — thresholds, confirm time, off timer, fault action, quiet
 * hours, and the mode / MANUAL lamp restored after a power cut, kept in flash
 * in g_cfg.app_data (with their own magic, see app_config.h). Written at once
 * from the web page, SAVE_DELAY_MS after the last change from the buttons or
 * a mode / lamp change (fewer flash writes). */
#include <zephyr/sys/printk.h>
#include <string.h>

#include "app_config.h"
#include "app.h"

struct stored {
    uint32_t magic;
    struct settings s;
};
BUILD_ASSERT(sizeof(struct stored) <= CFG_APP_DATA_SIZE, "settings do not fit app_data");

static int64_t s_save_at;     /* delayed write, 0 = none (main thread) */

const char *settings_check(const struct settings *s)
{
    if (s->on_lux < 1 || s->on_lux > SET_LUX_MAX)    return "on lux must be 1..5000";
    if (s->off_lux > SET_LUX_MAX)                     return "off lux must be at most 5000";
    if (s->off_lux < s->on_lux + SET_LUX_GAP_MIN)     return "off lux must be at least on lux + 5";
    if (s->confirm_s < SET_CONFIRM_MIN || s->confirm_s > SET_CONFIRM_MAX)
        return "confirm time must be 5..600 s";
    if (s->timer_s > SET_TIMER_MAX_S)                 return "timer must be 0..43200 s";
    if (s->fault > FAULT_OFF)                         return "fault action must be keep, on or off";
    if (s->quiet_on > 1 || s->quiet_from >= 24 * 60 || s->quiet_to >= 24 * 60)
        return "quiet hours must be 00:00..23:59";
    if (s->mode > MODE_MANUAL || s->lamp > 1)         return "bad mode";
    return NULL;
}

void settings_load(void)
{
    struct stored st;

    memcpy(&st, g_cfg.app_data, sizeof(st));
    if (st.magic == SET_MAGIC && settings_check(&st.s) == NULL) {
        g_set = st.s;
        printk("[SET] loaded\n");
    } else {
        g_set = (struct settings){
            .on_lux = SET_ON_LUX_DEF, .off_lux = SET_OFF_LUX_DEF, .confirm_s = SET_CONFIRM_S_DEF,
            .fault = FAULT_ON, .quiet_from = SET_QUIET_FROM_DEF, .quiet_to = SET_QUIET_TO_DEF,
            .mode = MODE_AUTO,
        };
        printk("[SET] defaults\n");
    }
}

void settings_save_at(int64_t at)
{
    s_save_at = at;
}

void settings_poll(int64_t now)
{
    struct stored st = { .magic = SET_MAGIC };

    if (!s_save_at || now < s_save_at) return;
    s_save_at = 0;
    k_mutex_lock(&g_lock, K_FOREVER);
    st.s = g_set;
    k_mutex_unlock(&g_lock);

    config_lock();
    memset(g_cfg.app_data, 0, sizeof(g_cfg.app_data));
    memcpy(g_cfg.app_data, &st, sizeof(st));
    int rc = config_save(&g_cfg);      /* both flash copies */
    config_unlock();
    printk("[SET] saved (%d): on<%u lx, off>%u lx, %u s, timer %u s, fault %s, "
           "quiet %s %02u:%02u-%02u:%02u, %s%s\n", rc,
           st.s.on_lux, st.s.off_lux, st.s.confirm_s, st.s.timer_s, fault_str[st.s.fault],
           st.s.quiet_on ? "on" : "off", st.s.quiet_from / 60, st.s.quiet_from % 60,
           st.s.quiet_to / 60, st.s.quiet_to % 60,
           st.s.mode == MODE_AUTO ? "auto" : "manual",
           st.s.mode == MODE_AUTO ? "" : st.s.lamp ? " lamp on" : " lamp off");
}
```

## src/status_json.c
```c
/* status_json.c — JSON of the devices.
 *
 * MQTT (status every 30 s, one event topic per device on a change): the main
 * values only,
 *   {"id":..,"fw":..,"lamp":{"on":..},"light":{"lux":..},"mode":{"mode":..},
 *    "sensor":{"ok":..}}
 * Web page ("app" of /api/live): every value the page shows,
 *   {"id":..,"fw":..,"name":..,"ip":..,"lcd":{..},"lamp":{..},"light":{..},
 *    "mode":{..},"sensor":{..}} */
#include <stdio.h>

#include "app_state.h"
#include "mqtt_app.h"
#include "web_core.h"
#include "app.h"

static const char *const dev_name[DEV_COUNT] = { "lamp", "light", "mode", "sensor" };

/* MQTT: the main value of each device */
static int json_brief(enum dev d, const struct state *st, char *buf, size_t len)
{
    switch (d) {
    case DEV_LAMP:
        return snprintf(buf, len, "{\"on\":%d}", st->on);
    case DEV_LIGHT:
        return snprintf(buf, len, "{\"lux\":%d}", st->lux);
    case DEV_MODE:
        return snprintf(buf, len, "{\"mode\":\"%s\"}",
                        st->mode == MODE_AUTO ? "auto" : "manual");
    case DEV_SENSOR:
        return snprintf(buf, len, "{\"ok\":%d}", st->have_data && !st->fault);
    default:
        return snprintf(buf, len, "{}");
    }
}

/* Web page: everything it shows */
static int json_full(enum dev d, const struct state *st, const struct settings *set,
                     char *buf, size_t len)
{
    int64_t now = k_uptime_get();
    int64_t left = (int64_t)set->timer_s * 1000 - (now - st->on_since);
    int min;
    int64_t pend = st->cand_since ? (int64_t)set->confirm_s * 1000 - (now - st->cand_since) : 0;

    switch (d) {
    case DEV_LAMP:
        return snprintf(buf, len,
            "{\"on\":%d,\"by\":\"%s\",\"timer_s\":%u,\"timer_left_s\":%u,\"hold\":%d}",
            st->on, src_str[st->by], set->timer_s,
            st->on && set->timer_s && left > 0 ? (unsigned int)((left + 999) / 1000) : 0,
            st->hold);
    case DEV_LIGHT:
        return snprintf(buf, len,
            "{\"state\":\"%s\",\"lux\":%d,"
            "\"on_lux\":%u,\"off_lux\":%u,\"confirm_s\":%u,\"pending_s\":%u}",
            !st->night_known ? "unknown" : st->night ? "dark" : "bright",
            st->lux, set->on_lux, set->off_lux,
            set->confirm_s, pend > 0 ? (unsigned int)((pend + 999) / 1000) : 0);
    case DEV_MODE:
        /* time: local minute of the day, -1 = not synced; quiet_*: minutes */
        return snprintf(buf, len,
            "{\"mode\":\"%s\",\"time\":%d,\"quiet_on\":%u,\"quiet_from\":%u,"
            "\"quiet_to\":%u,\"quiet\":%d}",
            st->mode == MODE_AUTO ? "auto" : "manual", clock_minute(&min) ? min : -1,
            set->quiet_on, set->quiet_from, set->quiet_to, st->quiet);
    case DEV_SENSOR:
        return snprintf(buf, len,
            "{\"ok\":%d,\"fault\":%d,\"have\":%d,\"fault_action\":\"%s\"}",
            st->ok, st->fault, st->have_data, fault_str[set->fault]);
    default:
        return snprintf(buf, len, "{}");
    }
}

/* Status of all the devices; full = the web page's version */
static int build_status(char *buf, size_t len, bool full)
{
    struct state st;
    struct settings set;
    size_t n;

    app_snapshot(&st, &set);
    if (st.reads == 0) return 0;
    n = snprintf(buf, len, "{\"id\":\"Board %03d\",\"fw\":\"" FW_VERSION "\"", mqtt_app_id_num());
    if (full && n < len) {
        n += snprintf(buf + n, len - n, ",\"name\":\"" FW_NAME "\",\"ip\":\"%s\",\"lcd\":{\"ok\":%d}",
                      g_device_ip, lcd_view_ok());
    }
    for (int d = 0; d < DEV_COUNT && n < len; d++) {
        n += snprintf(buf + n, len - n, ",\"%s\":", dev_name[d]);
        if (n < len) {
            n += full ? json_full(d, &st, &set, buf + n, len - n)
                      : json_brief(d, &st, buf + n, len - n);
        }
    }
    if (n < len) n += snprintf(buf + n, len - n, "}");
    return (int)n;
}

/* ── MQTT hooks (mqtt_app.h) ─────────────────────────────────── */
int mqtt_app_build_status(char *buf, size_t len)
{
    return build_status(buf, len, false);
}

int mqtt_app_build_event(unsigned int dev, char *name, size_t name_len,
                         char *buf, size_t len)
{
    struct state st;
    struct settings set;

    if (dev >= DEV_COUNT) return 0;
    app_snapshot(&st, &set);
    snprintf(name, name_len, "%s", dev_name[dev]);
    return json_brief(dev, &st, buf, len);
}

/* ── Web hook (web_core.h) ───────────────────────────────────── */
int web_app_build_status(char *buf, size_t len)
{
    return build_status(buf, len, true);
}
```

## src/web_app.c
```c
/* web_app.c — this showcase's part of the web page (hooks of web_core.h):
 * Device Information cells, the sections and script (web_page.h), and the
 * /api/... routes. The routes only post commands to the main thread; the
 * page shows the result at its next poll (d.app = MQTT status JSON). */
#include <stdlib.h>
#include <string.h>

#include "http.h"
#include "web_core.h"
#include "web_page.h"
#include "app.h"

void web_app_info_cells(void)
{
    struct state st;
    struct settings set;

    app_snapshot(&st, &set);
    web_td_ro("Light", "il", !st.night_known ? "--" : st.night ? "Dark" : "Bright");
    web_td_ro("Sensor", "is", st.fault ? "FAULT" : st.ok ? "OK" : "ERR");
    web_td_ro("LCD 20x4", "id", lcd_view_ok() ? "OK" : "ERR");
}

void web_app_sections(void)
{
    web_out_str(WEB_SECTIONS);
}

const char *web_app_js(void)
{
    return WEB_JS;
}

/* Unsigned integer form field; false when missing or not a number */
static bool form_uint(const char *body, const char *key, unsigned long *out)
{
    char v[12], *end;

    if (!http_form_field(body, key, v, sizeof(v)) || !v[0] || v[0] == '-') return false;
    *out = strtoul(v, &end, 10);
    return *end == '\0';
}

static void reply_post(int fd, const struct cmd *c, const char *ok_msg)
{
    bool ok = app_post(c);

    web_api_reply(fd, ok, ok ? ok_msg : "busy, try again");
}

bool web_app_api_post(int fd, const char *path, const char *body)
{
    struct cmd c = { 0 };
    char v[8];
    unsigned long on, off, cf, sec, fa, qo, qf, qt;

    if (strcmp(path, "/api/lamp") == 0) {
        if (!http_form_field(body, "on", v, sizeof(v)) || (strcmp(v, "0") && strcmp(v, "1"))) {
            web_api_reply(fd, false, "on must be 0 or 1");
            return true;
        }
        c.type = CMD_LAMP_SET;
        c.val = v[0] == '1';
        reply_post(fd, &c, c.val ? "lamp ON (manual)" : "lamp OFF (manual)");
    } else if (strcmp(path, "/api/mode") == 0) {
        if (!http_form_field(body, "mode", v, sizeof(v)) ||
            (strcmp(v, "auto") && strcmp(v, "manual"))) {
            web_api_reply(fd, false, "mode must be auto or manual");
            return true;
        }
        c.type = CMD_MODE_SET;
        c.val = v[0] == 'm' ? MODE_MANUAL : MODE_AUTO;
        reply_post(fd, &c, c.val == MODE_MANUAL ? "mode MANUAL" : "mode AUTO");
    } else if (strcmp(path, "/api/timer") == 0) {
        if (!form_uint(body, "seconds", &sec) || sec > SET_TIMER_MAX_S) {
            web_api_reply(fd, false, "timer must be 0..43200 s");
            return true;
        }
        c.type = CMD_TIMER_SET;
        c.val = (int32_t)sec;
        reply_post(fd, &c, sec ? "timer set" : "timer off");
    } else if (strcmp(path, "/api/settings") == 0) {
        struct state st;
        const char *why;

        app_snapshot(&st, &c.set);              /* keeps the current timer */
        if (!form_uint(body, "on_lux", &on) || !form_uint(body, "off_lux", &off) ||
            !form_uint(body, "confirm_s", &cf) || !form_uint(body, "fault", &fa) ||
            !form_uint(body, "quiet_on", &qo) || !form_uint(body, "quiet_from", &qf) ||
            !form_uint(body, "quiet_to", &qt) || on > 0xFFFF || off > 0xFFFF || cf > 0xFFFF ||
            fa > 0xFF || qo > 0xFF || qf > 0xFFFF || qt > 0xFFFF) {
            web_api_reply(fd, false, "fill in every field");
            return true;
        }
        c.set.on_lux = (uint16_t)on;
        c.set.off_lux = (uint16_t)off;
        c.set.confirm_s = (uint16_t)cf;
        c.set.fault = (uint8_t)fa;
        c.set.quiet_on = (uint8_t)qo;
        c.set.quiet_from = (uint16_t)qf;
        c.set.quiet_to = (uint16_t)qt;
        why = settings_check(&c.set);
        if (why) {
            web_api_reply(fd, false, why);
            return true;
        }
        c.type = CMD_SETTINGS;
        reply_post(fd, &c, "saved");
    } else {
        return false;
    }
    return true;
}
```
